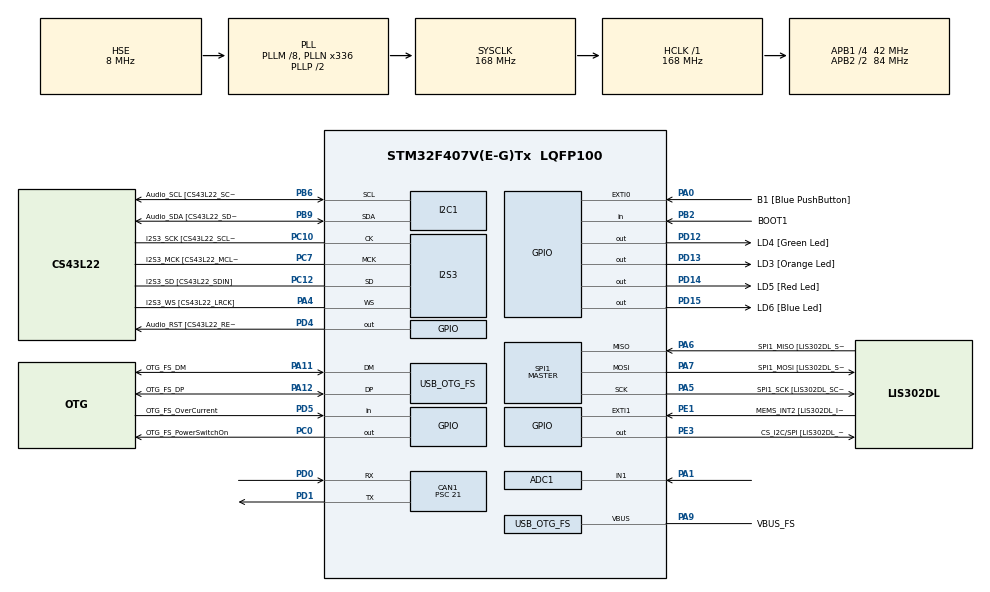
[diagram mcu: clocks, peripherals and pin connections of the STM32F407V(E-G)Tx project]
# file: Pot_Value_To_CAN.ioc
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ADC1.Channel-0\#ChannelRegularConversion=ADC_CHANNEL_1
ADC1.NbrOfConversionFlag=1
ADC1.Rank-0\#ChannelRegularConversion=1
ADC1.SamplingTime-0\#ChannelRegularConversion=ADC_SAMPLETIME_15CYCLES
ADC1.master=1
CAN1.BS2=CAN_BS2_2TQ
CAN1.CalculateBaudRate=500000
CAN1.CalculateTimeBit=2000
CAN1.CalculateTimeQuantum=500.0
CAN1.Prescaler=21
I2S3.AudioFreq-Half_Duplex_Master=I2S_AUDIOFREQ_96K
I2S3.ErrorAudioFreq=-2.34 %
I2S3.ErrorAudioFreq-Half_Duplex_Master=0.8 %
I2S3.FullDuplexMode=I2S_FULLDUPLEXMODE_DISABLE
I2S3.Instance=SPI$Index
I2S3.RealAudioFreq=93.75 KHz
I2S3.RealAudioFreq-Half_Duplex_Master=96.774 KHz
I2S3.VirtualMode=I2S_MODE_MASTER
Mcu.Family=STM32F4
Mcu.Name=STM32F407V(E-G)Tx
Mcu.Package=LQFP100
NVIC.OTG_FS_IRQn=true\:0\:0\:false\:false\:true\:true\:true\:true
NVIC.PriorityGroup=NVIC_PRIORITYGROUP_0
PA0-WKUP.GPIO_Label=B1 [Blue PushButton]
PA0-WKUP.GPIO_ModeDefaultEXTI=GPIO_MODE_EVT_RISING
PA0-WKUP.GPIO_PuPd=GPIO_NOPULL
PA0-WKUP.Signal=GPXTI0
PA1.Signal=ADCx_IN1
PA10.GPIO_Label=OTG_FS_ID
PA10.GPIO_Mode=GPIO_MODE_AF_PP
PA10.GPIO_PuPd=GPIO_NOPULL
PA10.GPIO_Speed=GPIO_SPEED_FREQ_LOW
PA10.Signal=USB_OTG_FS_ID
PA11.GPIO_Label=OTG_FS_DM
PA11.GPIO_Mode=GPIO_MODE_AF_PP
PA11.GPIO_PuPd=GPIO_NOPULL
PA11.GPIO_Speed=GPIO_SPEED_FREQ_LOW
PA11.Mode=Host_Only
PA11.Signal=USB_OTG_FS_DM
PA12.GPIO_Label=OTG_FS_DP
PA12.GPIO_Mode=GPIO_MODE_AF_PP
PA12.GPIO_PuPd=GPIO_NOPULL
PA12.GPIO_Speed=GPIO_SPEED_FREQ_LOW
PA12.Mode=Host_Only
PA12.Signal=USB_OTG_FS_DP
PA13.GPIO_Label=SWDIO
PA13.Mode=Serial_Wire
PA13.Signal=SYS_JTMS-SWDIO
PA14.GPIO_Label=SWCLK
PA14.Mode=Serial_Wire
PA14.Signal=SYS_JTCK-SWCLK
PA4.GPIO_Label=I2S3_WS [CS43L22_LRCK]
PA4.GPIO_Mode=GPIO_MODE_AF_PP
PA4.GPIO_PuPd=GPIO_NOPULL
PA4.GPIO_Speed=GPIO_SPEED_FREQ_LOW
PA4.Mode=Half_Duplex_Master
PA4.Signal=I2S3_WS
PA5.GPIO_Label=SPI1_SCK [LIS302DL_SCL/SPC]
PA5.GPIO_Mode=GPIO_MODE_AF_PP
PA5.GPIO_PuPd=GPIO_NOPULL
PA5.GPIO_Speed=GPIO_SPEED_FREQ_LOW
PA5.Mode=Full_Duplex_Master
PA5.Signal=SPI1_SCK
PA6.GPIO_Label=SPI1_MISO [LIS302DL_SDO]
PA6.GPIO_Mode=GPIO_MODE_AF_PP
PA6.GPIO_PuPd=GPIO_NOPULL
PA6.GPIO_Speed=GPIO_SPEED_FREQ_LOW
PA6.Mode=Full_Duplex_Master
PA6.Signal=SPI1_MISO
PA7.GPIO_Label=SPI1_MOSI [LIS302DL_SDA/SDI/SDO]
PA7.GPIO_Mode=GPIO_MODE_AF_PP
PA7.GPIO_PuPd=GPIO_NOPULL
PA7.GPIO_Speed=GPIO_SPEED_FREQ_LOW
PA7.Mode=Full_Duplex_Master
PA7.Signal=SPI1_MOSI
PA9.GPIO_Label=VBUS_FS
PA9.GPIO_Mode=GPIO_MODE_INPUT
PA9.GPIO_PuPd=GPIO_NOPULL
PA9.Mode=Activate_VBUS
PA9.Signal=USB_OTG_FS_VBUS
PB10.GPIO_Label=CLK_IN [MP45DT02_CLK]
PB10.GPIO_Mode=GPIO_MODE_AF_PP
PB10.GPIO_PuPd=GPIO_NOPULL
PB10.GPIO_Speed=GPIO_SPEED_FREQ_LOW
PB10.Signal=I2S2_CK
PB2.GPIO_Label=BOOT1
PB2.GPIO_Mode=GPIO_MODE_INPUT
PB2.GPIO_PuPd=GPIO_NOPULL
PB2.Signal=GPIO_Input
PB3.GPIO_Label=SWO
PB3.Signal=SYS_JTDO-SWO
PB6.GPIO_Label=Audio_SCL [CS43L22_SCL]
PB6.GPIO_Mode=GPIO_MODE_AF_OD
PB6.GPIO_Pu=GPIO_PULLUP
PB6.GPIO_PuPd=GPIO_NOPULL
PB6.GPIO_Speed=GPIO_SPEED_FREQ_LOW
PB6.Mode=I2C
PB6.Signal=I2C1_SCL
PB9.GPIO_Label=Audio_SDA [CS43L22_SDA]
PB9.GPIO_Mode=GPIO_MODE_AF_OD
PB9.GPIO_Pu=GPIO_PULLUP
PB9.GPIO_PuPd=GPIO_NOPULL
PB9.GPIO_Speed=GPIO_SPEED_FREQ_LOW
PB9.Mode=I2C
PB9.Signal=I2C1_SDA
PC0.GPIO_Label=OTG_FS_PowerSwitchOn
PC0.GPIO_PuPd=GPIO_NOPULL
PC0.GPIO_Speed=GPIO_SPEED_FREQ_LOW
PC0.PinState=GPIO_PIN_SET
PC0.Signal=GPIO_Output
PC10.GPIO_Label=I2S3_SCK [CS43L22_SCLK]
PC10.GPIO_Mode=GPIO_MODE_AF_PP
PC10.GPIO_PuPd=GPIO_NOPULL
PC10.GPIO_Speed=GPIO_SPEED_FREQ_LOW
PC10.Mode=Half_Duplex_Master
PC10.Signal=I2S3_CK
PC12.GPIO_Label=I2S3_SD [CS43L22_SDIN]
PC12.GPIO_Mode=GPIO_MODE_AF_PP
PC12.GPIO_PuPd=GPIO_NOPULL
PC12.GPIO_Speed=GPIO_SPEED_FREQ_LOW
PC12.Mode=Half_Duplex_Master
PC12.Signal=I2S3_SD
PC14-OSC32_IN.GPIO_Label=PC14-OSC32_IN
PC14-OSC32_IN.Mode=LSE-External-Oscillator
PC14-OSC32_IN.Signal=RCC_OSC32_IN
PC15-OSC32_OUT.GPIO_Label=PC15-OSC32_OUT
PC15-OSC32_OUT.Mode=LSE-External-Oscillator
PC15-OSC32_OUT.Signal=RCC_OSC32_OUT
PC3.GPIO_Label=PDM_OUT [MP45DT02_DOUT]
PC3.GPIO_Mode=GPIO_MODE_AF_PP
PC3.GPIO_PuPd=GPIO_NOPULL
PC3.GPIO_Speed=GPIO_SPEED_FREQ_LOW
PC3.Signal=I2S2_SD
PC7.GPIO_Label=I2S3_MCK [CS43L22_MCLK]
PC7.GPIO_Mode=GPIO_MODE_AF_PP
PC7.GPIO_PuPd=GPIO_NOPULL
PC7.GPIO_Speed=GPIO_SPEED_FREQ_LOW
PC7.Mode=Master_Clock_Activated
PC7.Signal=I2S3_MCK
PD0.Mode=CAN_Activate
PD0.Signal=CAN1_RX
PD1.Mode=CAN_Activate
PD1.Signal=CAN1_TX
PD12.GPIO_Label=LD4 [Green Led]
PD12.GPIO_PuPd=GPIO_NOPULL
PD12.GPIO_Speed=GPIO_SPEED_FREQ_LOW
PD12.Signal=GPIO_Output
PD13.GPIO_Label=LD3 [Orange Led]
PD13.GPIO_PuPd=GPIO_NOPULL
PD13.GPIO_Speed=GPIO_SPEED_FREQ_LOW
PD13.Signal=GPIO_Output
PD14.GPIO_Label=LD5 [Red Led]
PD14.GPIO_PuPd=GPIO_NOPULL
PD14.GPIO_Speed=GPIO_SPEED_FREQ_LOW
PD14.Signal=GPIO_Output
PD15.GPIO_Label=LD6 [Blue Led]
PD15.GPIO_PuPd=GPIO_NOPULL
PD15.GPIO_Speed=GPIO_SPEED_FREQ_LOW
PD15.Signal=GPIO_Output
PD4.GPIO_Label=Audio_RST [CS43L22_RESET]
PD4.GPIO_PuPd=GPIO_NOPULL
PD4.GPIO_Speed=GPIO_SPEED_FREQ_LOW
PD4.Signal=GPIO_Output
PD5.GPIO_Label=OTG_FS_OverCurrent
PD5.GPIO_Mode=GPIO_MODE_INPUT
PD5.GPIO_PuPd=GPIO_NOPULL
PD5.Signal=GPIO_Input
PE1.GPIO_Label=MEMS_INT2 [LIS302DL_INT2]
PE1.GPIO_ModeDefaultEXTI=GPIO_MODE_EVT_RISING
PE1.GPIO_PuPd=GPIO_NOPULL
PE1.Signal=GPXTI1
PE3.GPIO_Label=CS_I2C/SPI [LIS302DL_CS_I2C/SPI]
PE3.GPIO_PuPd=GPIO_NOPULL
PE3.GPIO_Speed=GPIO_SPEED_FREQ_LOW
PE3.Signal=GPIO_Output
PH0-OSC_IN.GPIO_Label=PH0-OSC_IN
PH0-OSC_IN.Mode=HSE-External-Oscillator
PH0-OSC_IN.Signal=RCC_OSC_IN
PH1-OSC_OUT.GPIO_Label=PH1-OSC_OUT
PH1-OSC_OUT.Mode=HSE-External-Oscillator
PH1-OSC_OUT.Signal=RCC_OSC_OUT
ProjectManager.HeapSize=0x200
ProjectManager.StackSize=0x400
ProjectManager.TargetToolchain=STM32CubeIDE
RCC.48MHZClocksFreq_Value=48000000
RCC.AHBFreq_Value=168000000
RCC.APB1CLKDivider=RCC_HCLK_DIV4
RCC.APB1Freq_Value=42000000
RCC.APB1TimFreq_Value=84000000
RCC.APB2CLKDivider=RCC_HCLK_DIV2
RCC.APB2Freq_Value=84000000
RCC.APB2TimFreq_Value=168000000
RCC.CortexFreq_Value=168000000
RCC.HCLKFreq_Value=168000000
RCC.HSE_VALUE=8000000
RCC.HSI_VALUE=16000000
RCC.PLLM=8
RCC.PLLN=336
RCC.PLLQ=7
RCC.SYSCLKFreq_VALUE=168000000
RCC.SYSCLKSource=RCC_SYSCLKSOURCE_PLLCLK
RCC.VCOOutputFreq_Value=336000000
SH.ADCx_IN1.0=ADC1_IN1,IN1
SPI1.BaudRatePrescaler-Full_Duplex_Master=SPI_BAUDRATEPRESCALER_2
SPI1.CalculateBaudRate-Full_Duplex_Master=42.0 MBits/s
SPI1.Direction=SPI_DIRECTION_2LINES
SPI1.Mode=SPI_MODE_MASTER
SPI1.Mode-Full_Duplex_Master=SPI_MODE_MASTER
SPI1.VirtualType=VM_MASTER
USB_HOST.BSP.number=1
USB_HOST.USBH_HandleTypeDef-CDC_FS=hUsbHostFS
USB_HOST.VirtualModeFS=Cdc
USB_HOST0.BSP.STBoard=false
USB_HOST0.BSP.api=Unknown
USB_HOST0.BSP.instance=PC0
USB_HOST0.BSP.ip=GPIO
USB_HOST0.BSP.mode=Output
USB_HOST0.BSP.name=Drive_VBUS_FS
USB_HOST0.BSP.solution=PC0
USB_OTG_FS.VirtualMode=Host_Only
USB_OTG_FS.phy_itface=HCD_PHY_EMBEDDED
VP_USB_HOST_VS_USB_HOST_CDC_FS.Mode=CDC_FS
board=STM32F407G-DISC1

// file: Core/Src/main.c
/* USER CODE BEGIN Header */
/**
  ******************************************************************************
  * @file           : main.c
  * @brief          : Main program body
  ******************************************************************************
  * @attention
  *
  * Copyright (c) 2025 STMicroelectronics.
  * All rights reserved.
  *
  * This software is licensed under terms that can be found in the LICENSE file
  * in the root directory of this software component.
  * If no LICENSE file comes with this software, it is provided AS-IS.
  *
  ******************************************************************************
  */
/* USER CODE END Header */
#include "main.h"
#include "usb_host.h"
#include<stdio.h>

ADC_HandleTypeDef hadc1;

CAN_HandleTypeDef hcan1;

I2C_HandleTypeDef hi2c1;

I2S_HandleTypeDef hi2s3;

SPI_HandleTypeDef hspi1;

void SystemClock_Config(void);
static void MX_GPIO_Init(void);
static void MX_I2C1_Init(void);
static void MX_I2S3_Init(void);
static void MX_SPI1_Init(void);
static void MX_CAN1_Init(void);
static void MX_ADC1_Init(void);
void MX_USB_HOST_Process(void);

/* USER CODE BEGIN 0 */

CAN_TxHeaderTypeDef TxHeader;
CAN_RxHeaderTypeDef RxHeader;

uint8_t TxData[8];
uint8_t RxData[8];

uint32_t TxMailbox;

uint16_t Pot=0;

int datacheck =0;

//called when button is pressed
/*void HAL_GPIO_EXTI_Callback(uint16_t GPIO_PIN)
{
	if (GPIO_PIN == GPIO_PIN_0)
	{
		TxData[0]=100;
		TxData[1]=200;

        if (HAL_CAN_AddTxMessage(&hcan1, &TxHeader, TxData, &TxMailbox) == HAL_OK)
        {
        	datacheck=1;
        }
	}

}*/

//Not used in transmission
void HAL_CAN_RxFifo0MsgPendingCallback(CAN_HandleTypeDef *hcan)
{
	HAL_CAN_GetRxMessage(hcan, CAN_RX_FIFO0, &RxHeader, RxData);
	if (RxHeader.DLC==2)
	{

	}

}

/* USER CODE END 0 */

int main(void)
{

  /* MCU Configuration--------------------------------------------------------*/

  /* Reset of all peripherals, Initializes the Flash interface and the Systick. */
  HAL_Init();

  /* Configure the system clock */
  SystemClock_Config();

  /* Initialize all configured peripherals */
  MX_GPIO_Init();
  MX_I2C1_Init();
  MX_I2S3_Init();
  MX_SPI1_Init();
  MX_USB_HOST_Init();
  MX_CAN1_Init();
  MX_ADC1_Init();
  /* USER CODE BEGIN 2 */

  HAL_CAN_Start(&hcan1);
  //Activate Notification

  HAL_CAN_ActivateNotification(&hcan1, CAN_IT_RX_FIFO0_MSG_PENDING);

  TxHeader.DLC=2;
  TxHeader.IDE= CAN_ID_STD;
  TxHeader.RTR=CAN_RTR_DATA;
  TxHeader.StdId= 0x103;

  /* USER CODE END 2 */

  /* Infinite loop */
  /* USER CODE BEGIN WHILE */
  //TxData[0]=100;
  //TxData[1]=200;
  while (1)
  {
    /* USER CODE END WHILE */
    MX_USB_HOST_Process();

    /* USER CODE BEGIN 3 */
    HAL_CAN_Start(&hcan1);
    HAL_ADC_Start(&hadc1);
    HAL_ADC_PollForConversion(&hadc1, 20);
    Pot = HAL_ADC_GetValue(&hadc1);
    TxData[0] = (Pot >> 8) & 0xFF;  // High byte (MSB)
    TxData[1] = Pot & 0xFF;         // Low byte (LSB)

    if (HAL_CAN_AddTxMessage(&hcan1, &TxHeader, TxData, &TxMailbox) == HAL_OK)
    {
    	datacheck=1;
    }

    if (datacheck)
    {
    	//Blink Led

        HAL_GPIO_TogglePin(GPIOD, GPIO_PIN_13);  // Toggle LED
        HAL_Delay(100);  // Small delay for visibility
        HAL_GPIO_TogglePin(GPIOD, GPIO_PIN_13);  // Toggle LED back
        HAL_Delay(100);
    }

    datacheck=0;
    HAL_Delay(500);

  }
  /* USER CODE END 3 */
}

void SystemClock_Config(void)
{
  RCC_OscInitTypeDef RCC_OscInitStruct = {0};
  RCC_ClkInitTypeDef RCC_ClkInitStruct = {0};

  /** Configure the main internal regulator output voltage
  */
  __HAL_RCC_PWR_CLK_ENABLE();
  __HAL_PWR_VOLTAGESCALING_CONFIG(PWR_REGULATOR_VOLTAGE_SCALE1);

  /** Initializes the RCC Oscillators according to the specified parameters
  * in the RCC_OscInitTypeDef structure.
  */
  RCC_OscInitStruct.OscillatorType = RCC_OSCILLATORTYPE_HSE;
  RCC_OscInitStruct.HSEState = RCC_HSE_ON;
  RCC_OscInitStruct.PLL.PLLState = RCC_PLL_ON;
  RCC_OscInitStruct.PLL.PLLSource = RCC_PLLSOURCE_HSE;
  RCC_OscInitStruct.PLL.PLLM = 8;
  RCC_OscInitStruct.PLL.PLLN = 336;
  RCC_OscInitStruct.PLL.PLLP = RCC_PLLP_DIV2;
  RCC_OscInitStruct.PLL.PLLQ = 7;
  if (HAL_RCC_OscConfig(&RCC_OscInitStruct) != HAL_OK)
  {
    Error_Handler();
  }

  /** Initializes the CPU, AHB and APB buses clocks
  */
  RCC_ClkInitStruct.ClockType = RCC_CLOCKTYPE_HCLK|RCC_CLOCKTYPE_SYSCLK
                              |RCC_CLOCKTYPE_PCLK1|RCC_CLOCKTYPE_PCLK2;
  RCC_ClkInitStruct.SYSCLKSource = RCC_SYSCLKSOURCE_PLLCLK;
  RCC_ClkInitStruct.AHBCLKDivider = RCC_SYSCLK_DIV1;
  RCC_ClkInitStruct.APB1CLKDivider = RCC_HCLK_DIV4;
  RCC_ClkInitStruct.APB2CLKDivider = RCC_HCLK_DIV2;

  if (HAL_RCC_ClockConfig(&RCC_ClkInitStruct, FLASH_LATENCY_5) != HAL_OK)
  {
    Error_Handler();
  }
}

static void MX_ADC1_Init(void)
{

  ADC_ChannelConfTypeDef sConfig = {0};

  /** Configure the global features of the ADC (Clock, Resolution, Data Alignment and number of conversion)
  */
  hadc1.Instance = ADC1;
  hadc1.Init.ClockPrescaler = ADC_CLOCK_SYNC_PCLK_DIV4;
  hadc1.Init.Resolution = ADC_RESOLUTION_12B;
  hadc1.Init.ScanConvMode = DISABLE;
  hadc1.Init.ContinuousConvMode = ENABLE;
  hadc1.Init.DiscontinuousConvMode = DISABLE;
  hadc1.Init.ExternalTrigConvEdge = ADC_EXTERNALTRIGCONVEDGE_NONE;
  hadc1.Init.ExternalTrigConv = ADC_SOFTWARE_START;
  hadc1.Init.DataAlign = ADC_DATAALIGN_RIGHT;
  hadc1.Init.NbrOfConversion = 1;
  hadc1.Init.DMAContinuousRequests = DISABLE;
  hadc1.Init.EOCSelection = ADC_EOC_SINGLE_CONV;
  if (HAL_ADC_Init(&hadc1) != HAL_OK)
  {
    Error_Handler();
  }

  /** Configure for the selected ADC regular channel its corresponding rank in the sequencer and its sample time.
  */
  sConfig.Channel = ADC_CHANNEL_1;
  sConfig.Rank = 1;
  sConfig.SamplingTime = ADC_SAMPLETIME_15CYCLES;
  if (HAL_ADC_ConfigChannel(&hadc1, &sConfig) != HAL_OK)
  {
    Error_Handler();
  }

}

static void MX_CAN1_Init(void)
{

  hcan1.Instance = CAN1;
  hcan1.Init.Prescaler = 21;
  hcan1.Init.Mode = CAN_MODE_NORMAL;
  hcan1.Init.SyncJumpWidth = CAN_SJW_1TQ;
  hcan1.Init.TimeSeg1 = CAN_BS1_2TQ;
  hcan1.Init.TimeSeg2 = CAN_BS2_1TQ;
  hcan1.Init.TimeTriggeredMode = DISABLE;
  hcan1.Init.AutoBusOff = DISABLE;
  hcan1.Init.AutoWakeUp = DISABLE;
  hcan1.Init.AutoRetransmission = DISABLE;
  hcan1.Init.ReceiveFifoLocked = DISABLE;
  hcan1.Init.TransmitFifoPriority = DISABLE;
  if (HAL_CAN_Init(&hcan1) != HAL_OK)
  {
    Error_Handler();
  }

}

static void MX_I2C1_Init(void)
{

  hi2c1.Instance = I2C1;
  hi2c1.Init.ClockSpeed = 100000;
  hi2c1.Init.DutyCycle = I2C_DUTYCYCLE_2;
  hi2c1.Init.OwnAddress1 = 0;
  hi2c1.Init.AddressingMode = I2C_ADDRESSINGMODE_7BIT;
  hi2c1.Init.DualAddressMode = I2C_DUALADDRESS_DISABLE;
  hi2c1.Init.OwnAddress2 = 0;
  hi2c1.Init.GeneralCallMode = I2C_GENERALCALL_DISABLE;
  hi2c1.Init.NoStretchMode = I2C_NOSTRETCH_DISABLE;
  if (HAL_I2C_Init(&hi2c1) != HAL_OK)
  {
    Error_Handler();
  }

}

static void MX_I2S3_Init(void)
{

  hi2s3.Instance = SPI3;
  hi2s3.Init.Mode = I2S_MODE_MASTER_TX;
  hi2s3.Init.Standard = I2S_STANDARD_PHILIPS;
  hi2s3.Init.DataFormat = I2S_DATAFORMAT_16B;
  hi2s3.Init.MCLKOutput = I2S_MCLKOUTPUT_ENABLE;
  hi2s3.Init.AudioFreq = I2S_AUDIOFREQ_96K;
  hi2s3.Init.CPOL = I2S_CPOL_LOW;
  hi2s3.Init.ClockSource = I2S_CLOCK_PLL;
  hi2s3.Init.FullDuplexMode = I2S_FULLDUPLEXMODE_DISABLE;
  if (HAL_I2S_Init(&hi2s3) != HAL_OK)
  {
    Error_Handler();
  }

}

static void MX_SPI1_Init(void)
{

  /* SPI1 parameter configuration*/
  hspi1.Instance = SPI1;
  hspi1.Init.Mode = SPI_MODE_MASTER;
  hspi1.Init.Direction = SPI_DIRECTION_2LINES;
  hspi1.Init.DataSize = SPI_DATASIZE_8BIT;
  hspi1.Init.CLKPolarity = SPI_POLARITY_LOW;
  hspi1.Init.CLKPhase = SPI_PHASE_1EDGE;
  hspi1.Init.NSS = SPI_NSS_SOFT;
  hspi1.Init.BaudRatePrescaler = SPI_BAUDRATEPRESCALER_2;
  hspi1.Init.FirstBit = SPI_FIRSTBIT_MSB;
  hspi1.Init.TIMode = SPI_TIMODE_DISABLE;
  hspi1.Init.CRCCalculation = SPI_CRCCALCULATION_DISABLE;
  hspi1.Init.CRCPolynomial = 10;
  if (HAL_SPI_Init(&hspi1) != HAL_OK)
  {
    Error_Handler();
  }

}

static void MX_GPIO_Init(void)
{
  GPIO_InitTypeDef GPIO_InitStruct = {0};

  /* GPIO Ports Clock Enable */
  __HAL_RCC_GPIOE_CLK_ENABLE();
  __HAL_RCC_GPIOC_CLK_ENABLE();
  __HAL_RCC_GPIOH_CLK_ENABLE();
  __HAL_RCC_GPIOA_CLK_ENABLE();
  __HAL_RCC_GPIOB_CLK_ENABLE();
  __HAL_RCC_GPIOD_CLK_ENABLE();

  /*Configure GPIO pin Output Level */
  HAL_GPIO_WritePin(CS_I2C_SPI_GPIO_Port, CS_I2C_SPI_Pin, GPIO_PIN_RESET);

  /*Configure GPIO pin Output Level */
  HAL_GPIO_WritePin(OTG_FS_PowerSwitchOn_GPIO_Port, OTG_FS_PowerSwitchOn_Pin, GPIO_PIN_SET);

  /*Configure GPIO pin Output Level */
  HAL_GPIO_WritePin(GPIOD, LD4_Pin|LD3_Pin|LD5_Pin|LD6_Pin
                          |Audio_RST_Pin, GPIO_PIN_RESET);

  /*Configure GPIO pin : CS_I2C_SPI_Pin */
  GPIO_InitStruct.Pin = CS_I2C_SPI_Pin;
  GPIO_InitStruct.Mode = GPIO_MODE_OUTPUT_PP;
  GPIO_InitStruct.Pull = GPIO_NOPULL;
  GPIO_InitStruct.Speed = GPIO_SPEED_FREQ_LOW;
  HAL_GPIO_Init(CS_I2C_SPI_GPIO_Port, &GPIO_InitStruct);

  /*Configure GPIO pin : OTG_FS_PowerSwitchOn_Pin */
  GPIO_InitStruct.Pin = OTG_FS_PowerSwitchOn_Pin;
  GPIO_InitStruct.Mode = GPIO_MODE_OUTPUT_PP;
  GPIO_InitStruct.Pull = GPIO_NOPULL;
  GPIO_InitStruct.Speed = GPIO_SPEED_FREQ_LOW;
  HAL_GPIO_Init(OTG_FS_PowerSwitchOn_GPIO_Port, &GPIO_InitStruct);

  /*Configure GPIO pin : PDM_OUT_Pin */
  GPIO_InitStruct.Pin = PDM_OUT_Pin;
  GPIO_InitStruct.Mode = GPIO_MODE_AF_PP;
  GPIO_InitStruct.Pull = GPIO_NOPULL;
  GPIO_InitStruct.Speed = GPIO_SPEED_FREQ_LOW;
  GPIO_InitStruct.Alternate = GPIO_AF5_SPI2;
  HAL_GPIO_Init(PDM_OUT_GPIO_Port, &GPIO_InitStruct);

  /*Configure GPIO pin : PA0 */
  GPIO_InitStruct.Pin = GPIO_PIN_0;
  GPIO_InitStruct.Mode = GPIO_MODE_IT_RISING;
  GPIO_InitStruct.Pull = GPIO_NOPULL;
  HAL_GPIO_Init(GPIOA, &GPIO_InitStruct);

  /*Configure GPIO pin : BOOT1_Pin */
  GPIO_InitStruct.Pin = BOOT1_Pin;
  GPIO_InitStruct.Mode = GPIO_MODE_INPUT;
  GPIO_InitStruct.Pull = GPIO_NOPULL;
  HAL_GPIO_Init(BOOT1_GPIO_Port, &GPIO_InitStruct);

  /*Configure GPIO pin : CLK_IN_Pin */
  GPIO_InitStruct.Pin = CLK_IN_Pin;
  GPIO_InitStruct.Mode = GPIO_MODE_AF_PP;
  GPIO_InitStruct.Pull = GPIO_NOPULL;
  GPIO_InitStruct.Speed = GPIO_SPEED_FREQ_LOW;
  GPIO_InitStruct.Alternate = GPIO_AF5_SPI2;
  HAL_GPIO_Init(CLK_IN_GPIO_Port, &GPIO_InitStruct);

  /*Configure GPIO pins : LD4_Pin LD3_Pin LD5_Pin LD6_Pin
                           Audio_RST_Pin */
  GPIO_InitStruct.Pin = LD4_Pin|LD3_Pin|LD5_Pin|LD6_Pin
                          |Audio_RST_Pin;
  GPIO_InitStruct.Mode = GPIO_MODE_OUTPUT_PP;
  GPIO_InitStruct.Pull = GPIO_NOPULL;
  GPIO_InitStruct.Speed = GPIO_SPEED_FREQ_LOW;
  HAL_GPIO_Init(GPIOD, &GPIO_InitStruct);

  /*Configure GPIO pin : OTG_FS_OverCurrent_Pin */
  GPIO_InitStruct.Pin = OTG_FS_OverCurrent_Pin;
  GPIO_InitStruct.Mode = GPIO_MODE_INPUT;
  GPIO_InitStruct.Pull = GPIO_NOPULL;
  HAL_GPIO_Init(OTG_FS_OverCurrent_GPIO_Port, &GPIO_InitStruct);

  GPIO_InitStruct.Pin = GPIO_PIN_1;
  GPIO_InitStruct.Mode = GPIO_MODE_ANALOG;
  GPIO_InitStruct.Pull = GPIO_NOPULL;
  HAL_GPIO_Init(GPIOA, &GPIO_InitStruct);

  /*Configure GPIO pin : MEMS_INT2_Pin */
  GPIO_InitStruct.Pin = MEMS_INT2_Pin;
  GPIO_InitStruct.Mode = GPIO_MODE_EVT_RISING;
  GPIO_InitStruct.Pull = GPIO_NOPULL;
  HAL_GPIO_Init(MEMS_INT2_GPIO_Port, &GPIO_InitStruct);

  /* EXTI interrupt init*/
  HAL_NVIC_SetPriority(EXTI0_IRQn, 0, 0);
  HAL_NVIC_EnableIRQ(EXTI0_IRQn);

}

void Error_Handler(void)
{
  __disable_irq();
  while (1)
  {
  }
}
